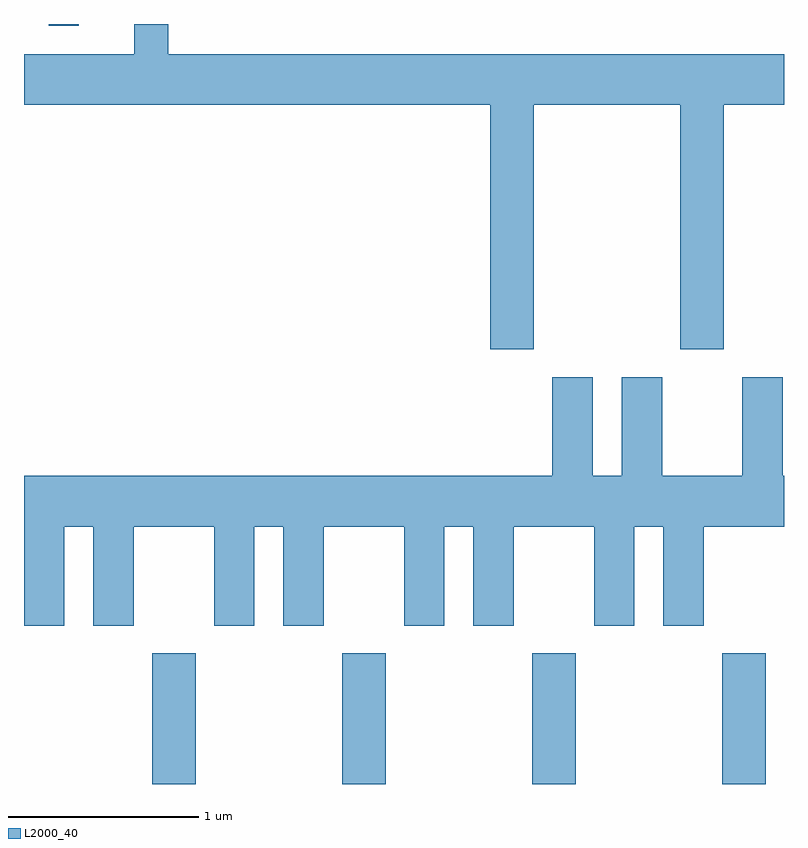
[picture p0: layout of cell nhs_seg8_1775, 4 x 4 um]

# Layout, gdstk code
import gdstk
lib = gdstk.Library(unit=1e-6, precision=1e-09)
def R(c, l, rs):  # rectangles x0, y0, x1, y1
    for r in rs: c.add(gdstk.rectangle(r[:2], r[2:], *l))
def A(c, l, x, y, w, h, nx, ny, dx, dy):  # array of equal rectangles
    R(c, l, [(x+i*dx, y+j*dy, x+i*dx+w, y+j*dy+h) for i in range(nx) for j in range(ny)])
def P(c, l, *ps):  # polygons
    for p in ps: c.add(gdstk.Polygon(p, *l))
L2000_40 = (2000, 40)

nhs_seg8_1775 = lib.new_cell('nhs_seg8_1775')
A(nhs_seg8_1775, L2000_40, 238.286, 1888.342, 0.228, 0.687, 4, 1, 1, 0)
R(nhs_seg8_1775, L2000_40, [(237.741,1892.333,237.899,1892.342)])
P(nhs_seg8_1775, L2000_40, [(240.294,1891.916),(241.066,1891.916),(241.066,1890.631),(241.294,1890.631),(241.294,1891.916),(241.611,1891.916),(241.611,1892.184),(238.369,1892.184),(238.369,1892.342),(238.191,1892.342),(238.191,1892.184),(237.611,1892.184),(237.611,1891.916),(240.066,1891.916),(240.066,1890.631),(240.294,1890.631)],
  [(237.824,1889.696),(237.976,1889.696),(237.976,1889.176),(238.189,1889.176),(238.189,1889.696),(238.611,1889.696),(238.611,1889.176),(238.824,1889.176),(238.824,1889.696),(238.976,1889.696),(238.976,1889.176),(239.189,1889.176),(239.189,1889.696),(239.611,1889.696),(239.611,1889.176),(239.824,1889.176),(239.824,1889.696),(239.976,1889.696),(239.976,1889.176),(240.189,1889.176),(240.189,1889.696),(240.611,1889.696),(240.611,1889.176),(240.824,1889.176),(240.824,1889.696),(240.976,1889.696),(240.976,1889.176),(241.189,1889.176),(241.189,1889.696),(241.611,1889.696),(241.611,1889.964),(241.604,1889.964),(241.604,1890.484),(241.391,1890.484),(241.391,1889.964),(240.969,1889.964),(240.969,1890.484),(240.756,1890.484),(240.756,1889.964),(240.604,1889.964),(240.604,1890.484),(240.391,1890.484),(240.391,1889.964),(237.611,1889.964),(237.611,1889.176),(237.824,1889.176)])

lib.write_gds('nhs_seg8_1775.gds')
